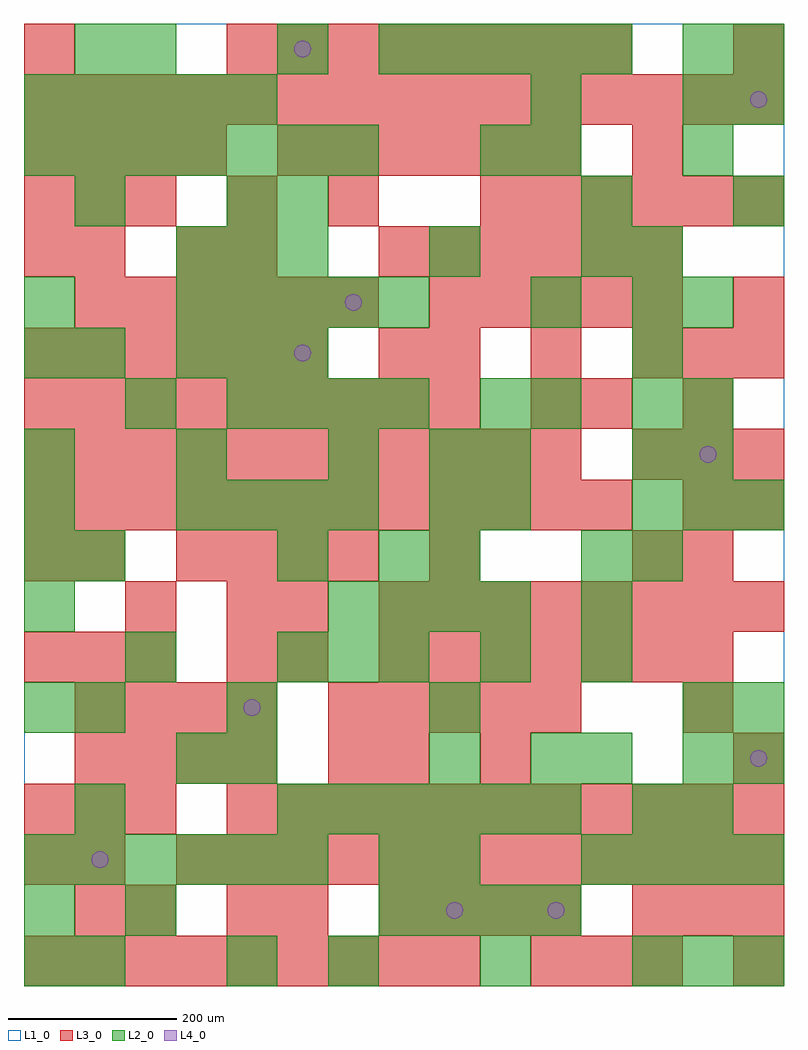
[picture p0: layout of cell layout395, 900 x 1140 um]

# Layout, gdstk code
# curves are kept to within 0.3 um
import gdstk
lib = gdstk.Library(unit=1e-6, precision=1e-09)
def R(c, l, rs):  # rectangles x0, y0, x1, y1
    for r in rs: c.add(gdstk.rectangle(r[:2], r[2:], *l))
def A(c, l, x, y, w, h, nx, ny, dx, dy):  # array of equal rectangles
    R(c, l, [(x+i*dx, y+j*dy, x+i*dx+w, y+j*dy+h) for i in range(nx) for j in range(ny)])
def P(c, l, *ps):  # polygons
    for p in ps: c.add(gdstk.Polygon(p, *l))
L1_0 = (1, 0)
L2_0 = (2, 0)
L3_0 = (3, 0)
L4_0 = (4, 0)

layout395 = lib.new_cell('layout395')
R(layout395, L1_0, [(0,0,900,1140)])
A(layout395, L2_0, 360, 0, 60, 60, 3, 1, 180, 0)
A(layout395, L2_0, 120, 60, 60, 60, 1, 3, 0, 300)
A(layout395, L2_0, 420, 60, 60, 60, 4, 1, 60, 0)
A(layout395, L2_0, 0, 120, 60, 60, 6, 1, 60, 0)
A(layout395, L2_0, 660, 120, 60, 60, 4, 1, 60, 0)
A(layout395, L2_0, 300, 180, 60, 60, 6, 1, 60, 0)
A(layout395, L2_0, 780, 180, 60, 60, 1, 3, 0, 60)
A(layout395, L2_0, 300, 360, 60, 60, 3, 1, 60, 0)
A(layout395, L2_0, 660, 360, 60, 60, 1, 3, 0, 60)
A(layout395, L2_0, 0, 420, 60, 60, 1, 3, 0, 60)
A(layout395, L2_0, 360, 420, 60, 60, 4, 1, 60, 0)
A(layout395, L2_0, 480, 480, 60, 60, 1, 3, 0, 60)
A(layout395, L2_0, 180, 540, 60, 60, 4, 1, 60, 0)
A(layout395, L2_0, 540, 540, 60, 60, 1, 3, 0, 60)
A(layout395, L2_0, 720, 540, 60, 60, 3, 1, 60, 0)
A(layout395, L2_0, 0, 600, 60, 60, 3, 1, 180, 0)
A(layout395, L2_0, 720, 600, 60, 60, 1, 5, 0, 60)
A(layout395, L2_0, 240, 660, 60, 60, 4, 1, 60, 0)
A(layout395, L2_0, 60, 720, 60, 60, 1, 3, 0, 180)
A(layout395, L2_0, 180, 720, 60, 60, 3, 2, 60, 120)
A(layout395, L2_0, 180, 780, 60, 60, 5, 1, 60, 0)
A(layout395, L2_0, 0, 960, 60, 60, 7, 1, 60, 0)
A(layout395, L2_0, 780, 960, 60, 60, 1, 3, 0, 60)
A(layout395, L2_0, 0, 1020, 60, 60, 5, 1, 60, 0)
A(layout395, L2_0, 420, 1080, 60, 60, 5, 1, 60, 0)
R(layout395, L2_0, [(0,0,60,60), (60,0,120,60), (240,0,300,60), (780,0,840,60), (840,0,900,60), (0,60,60,120), (420,120,480,180), (480,120,540,180), (60,180,120,240), (720,180,780,240), (180,240,240,300), (240,240,300,300), (480,240,540,300), (600,240,660,300), (660,240,720,300), (840,240,900,300), (0,300,60,360), (60,300,120,360), (240,300,300,360), (480,300,540,360), (840,300,900,360), (540,360,600,420), (60,480,120,540), (300,480,360,540), (420,480,480,540), (720,480,780,540), (780,600,840,660), (600,660,660,720), (780,660,840,720), (0,720,60,780), (0,780,60,840), (600,780,660,840), (780,780,840,840), (480,840,540,900), (660,840,720,900), (240,900,300,960), (300,900,360,960), (660,900,720,960), (840,900,900,960), (540,960,600,1020), (600,960,660,1020), (600,1020,660,1080), (840,1020,900,1080), (120,1080,180,1140), (300,1080,360,1140), (840,1080,900,1140)])
A(layout395, L3_0, 0, 0, 60, 60, 9, 2, 60, 660)
A(layout395, L3_0, 600, 0, 60, 60, 3, 1, 60, 0)
A(layout395, L3_0, 420, 60, 60, 60, 4, 1, 60, 0)
A(layout395, L3_0, 720, 60, 60, 60, 3, 2, 60, 540)
A(layout395, L3_0, 0, 120, 60, 60, 1, 3, 0, 360)
A(layout395, L3_0, 60, 120, 60, 60, 1, 3, 0, 360)
A(layout395, L3_0, 180, 120, 60, 60, 12, 1, 60, 0)
A(layout395, L3_0, 0, 180, 60, 60, 3, 2, 60, 180)
A(layout395, L3_0, 240, 180, 60, 60, 11, 1, 60, 0)
A(layout395, L3_0, 60, 240, 60, 60, 4, 2, 60, 60)
A(layout395, L3_0, 360, 300, 60, 60, 5, 1, 60, 0)
A(layout395, L3_0, 420, 360, 60, 60, 7, 1, 60, 0)
A(layout395, L3_0, 420, 420, 60, 60, 8, 1, 60, 0)
A(layout395, L3_0, 180, 480, 60, 60, 4, 1, 60, 0)
A(layout395, L3_0, 0, 540, 60, 60, 12, 1, 60, 0)
A(layout395, L3_0, 0, 600, 60, 60, 11, 1, 60, 0)
A(layout395, L3_0, 0, 720, 60, 60, 6, 1, 60, 0)
A(layout395, L3_0, 480, 720, 60, 60, 3, 1, 120, 0)
A(layout395, L3_0, 60, 780, 60, 60, 6, 1, 60, 0)
A(layout395, L3_0, 480, 780, 60, 60, 5, 1, 60, 0)
A(layout395, L3_0, 420, 840, 60, 60, 6, 1, 60, 0)
A(layout395, L3_0, 0, 900, 60, 60, 3, 1, 60, 0)
A(layout395, L3_0, 540, 900, 60, 60, 6, 1, 60, 0)
A(layout395, L3_0, 0, 960, 60, 60, 4, 1, 60, 0)
A(layout395, L3_0, 300, 960, 60, 60, 6, 1, 60, 0)
A(layout395, L3_0, 0, 1020, 60, 60, 15, 1, 60, 0)
A(layout395, L3_0, 240, 1080, 60, 60, 8, 1, 60, 0)
R(layout395, L3_0, [(840,0,900,60), (60,60,120,120), (120,60,180,120), (240,60,300,120), (300,60,360,120), (360,240,420,300), (420,240,480,300), (540,240,600,300), (840,240,900,300), (780,300,840,360), (240,360,300,420), (300,360,360,420), (120,420,180,480), (240,420,300,480), (300,420,360,480), (480,480,540,540), (720,480,780,540), (780,480,840,540), (780,540,840,600), (840,540,900,600), (600,660,660,720), (660,660,720,720), (780,660,840,720), (420,720,480,780), (780,720,840,780), (840,720,900,780), (840,780,900,840), (180,840,240,900), (240,840,300,900), (240,900,300,960), (360,900,420,960), (720,960,780,1020), (0,1080,60,1140), (840,1080,900,1140)])
P(layout395, L4_0, [(100,150),(99.239,153.827),(97.071,157.071),(93.827,159.239),(90,160),(86.173,159.239),(82.929,157.071),(80.761,153.827),(80,150),(80.761,146.173),(82.929,142.929),(86.173,140.761),(90,140),(93.827,140.761),(97.071,142.929),(99.239,146.173)],
  [(280,330),(279.239,333.827),(277.071,337.071),(273.827,339.239),(270,340),(266.173,339.239),(262.929,337.071),(260.761,333.827),(260,330),(260.761,326.173),(262.929,322.929),(266.173,320.761),(270,320),(273.827,320.761),(277.071,322.929),(279.239,326.173)],
  [(340,750),(339.239,753.827),(337.071,757.071),(333.827,759.239),(330,760),(326.173,759.239),(322.929,757.071),(320.761,753.827),(320,750),(320.761,746.173),(322.929,742.929),(326.173,740.761),(330,740),(333.827,740.761),(337.071,742.929),(339.239,746.173)],
  [(340,1110),(339.239,1113.827),(337.071,1117.071),(333.827,1119.239),(330,1120),(326.173,1119.239),(322.929,1117.071),(320.761,1113.827),(320,1110),(320.761,1106.173),(322.929,1102.929),(326.173,1100.761),(330,1100),(333.827,1100.761),(337.071,1102.929),(339.239,1106.173)],
  [(400,810),(399.239,813.827),(397.071,817.071),(393.827,819.239),(390,820),(386.173,819.239),(382.929,817.071),(380.761,813.827),(380,810),(380.761,806.173),(382.929,802.929),(386.173,800.761),(390,800),(393.827,800.761),(397.071,802.929),(399.239,806.173)],
  [(520,90),(519.239,93.827),(517.071,97.071),(513.827,99.239),(510,100),(506.173,99.239),(502.929,97.071),(500.761,93.827),(500,90),(500.761,86.173),(502.929,82.929),(506.173,80.761),(510,80),(513.827,80.761),(517.071,82.929),(519.239,86.173)],
  [(640,90),(639.239,93.827),(637.071,97.071),(633.827,99.239),(630,100),(626.173,99.239),(622.929,97.071),(620.761,93.827),(620,90),(620.761,86.173),(622.929,82.929),(626.173,80.761),(630,80),(633.827,80.761),(637.071,82.929),(639.239,86.173)],
  [(820,630),(819.239,633.827),(817.071,637.071),(813.827,639.239),(810,640),(806.173,639.239),(802.929,637.071),(800.761,633.827),(800,630),(800.761,626.173),(802.929,622.929),(806.173,620.761),(810,620),(813.827,620.761),(817.071,622.929),(819.239,626.173)],
  [(880,270),(879.239,273.827),(877.071,277.071),(873.827,279.239),(870,280),(866.173,279.239),(862.929,277.071),(860.761,273.827),(860,270),(860.761,266.173),(862.929,262.929),(866.173,260.761),(870,260),(873.827,260.761),(877.071,262.929),(879.239,266.173)],
  [(880,1050),(879.239,1053.827),(877.071,1057.071),(873.827,1059.239),(870,1060),(866.173,1059.239),(862.929,1057.071),(860.761,1053.827),(860,1050),(860.761,1046.173),(862.929,1042.929),(866.173,1040.761),(870,1040),(873.827,1040.761),(877.071,1042.929),(879.239,1046.173)])

lib.write_gds('layout395.gds')
